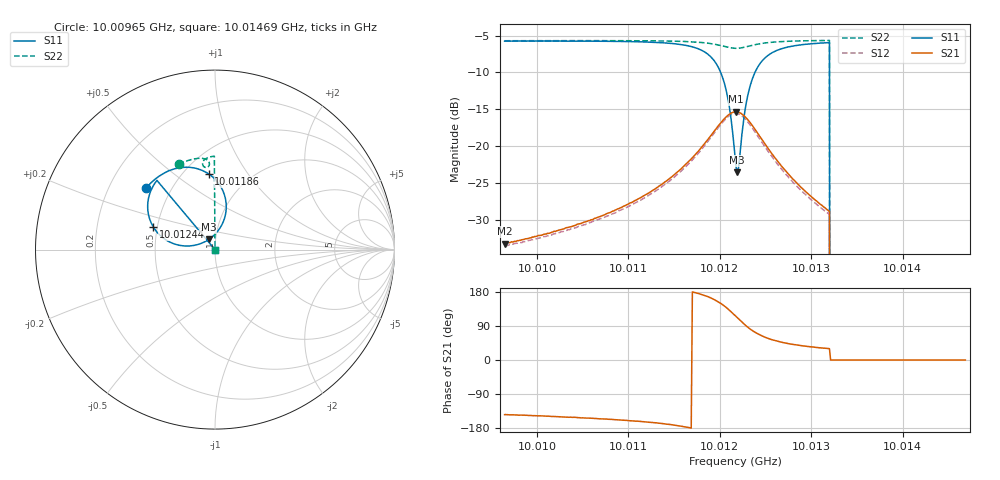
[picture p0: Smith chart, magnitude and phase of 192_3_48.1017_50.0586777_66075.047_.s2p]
#  HZ  S  RI  R  50.00
! Rohde & Schwarz Vector Network Analyzer
! Rohde-Schwarz,ZNB20-2Port,1311601062101988,3.16
! Created: UTC 12/23/2023, 3:53:52 AM
! freq[Hz]  re:S11  im:S11  re:S21  im:S21  re:S12  im:S12  re:S22  im:S22
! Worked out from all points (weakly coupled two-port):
!   401 points, 10.00965 GHz to 10.01469 GHz, reference 50 ohm
!   highest |S21| = -15.36 dB at 10.01218 GHz (marker M1); lowest = -33.2 dB at 10.00965 GHz (marker M2)
!   lowest |S11| = -23.5 dB at 10.01219 GHz (marker M3), VSWR 1.14, Z = 46.3 + j5.24 ohm
!   |S11| at or under -10 dB: 10.01201 GHz to 10.01238 GHz (376.4 kHz wide, 0.00376 % of centre); 10.0132 GHz to end of sweep
!   |S22| runs from - to -5.7 dB; largest |S21 - S12| = 0.0084
!   S11 on the Smith chart (normalised r, x): 10.00965 GHz: 0.36, +0.34; 10.01186 GHz: 0.66, +0.68; 10.01244 GHz: 0.48, +0.14; 10.01469 GHz: 1.00, +0.00
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1.0009645e10  -0.3844 0.3431  -0.0177 -0.0127  -0.0162 -0.0133  -0.2031 0.4767
1.001049e10  -0.3291 0.3958  -0.0267 -0.0137  -0.0248 -0.0147  -0.15 0.4967
1.0011334e10  -0.2265 0.4499  -0.052 -0.0122  -0.0493 -0.0145  -0.0898 0.5088
1.0011637e10  -0.1447 0.4587  -0.0758 -0.0038  -0.0729 -0.00749  -0.0633 0.5076
1.0011863e10  -0.0343 0.4209  -0.1071 0.0232  -0.1049 0.0169  -0.041 0.4975
1.0011977e10  0.0349 0.3458  -0.1219 0.059  -0.1216 0.0506  -0.0322 0.4847
1.0012052e10  0.0622 0.2553  -0.1211 0.0947  -0.1223 0.087  -0.0315 0.4727
1.0012103e10  0.0541 0.1781  -0.1091 0.1224  -0.1121 0.1146  -0.0355 0.4644
1.0012166e10  -0.000416 0.085  -0.0783 0.1514  -0.0821 0.1447  -0.0454 0.4581
1.0012179e10  -0.0173 0.0694  -0.0703 0.1554  -0.0745 0.1486  -0.0479 0.4577
1.0012191e10  -0.0353 0.0563  -0.0622 0.1585  -0.0666 0.1518  -0.0505 0.4577
1.0012216e10  -0.0752 0.0353  -0.0458 0.162  -0.0499 0.1558  -0.0553 0.4585
1.0012267e10  -0.1596 0.0199  -0.0125 0.1595  -0.0172 0.154  -0.0633 0.4635
1.0012317e10  -0.2341 0.0343  0.0146 0.1473  0.00896 0.1423  -0.068 0.4712
1.0012368e10  -0.2911 0.0665  0.0331 0.1303  0.0272 0.1261  -0.0692 0.4797
1.0012443e10  -0.3432 0.1252  0.0472 0.1046  0.0416 0.1016  -0.0665 0.4905
1.0012645e10  -0.375 0.2499  0.0507 0.0581  0.0461 0.0571  -0.0498 0.5077
1.001301e10  -0.3433 0.3565  0.0368 0.0254  0.0339 0.0257  -0.0183 0.5185
1.0013174e10  -0.3261 0.3821  0.0318 0.0187  0.0294 0.0194  -0.00547 0.5202
1.0013237e10  0 0  0 0  0 0  0 0
1.0013855e10  0 0  0 0  0 0  0 0
1.0014687e10  0 0  0 0  0 0  0 0
